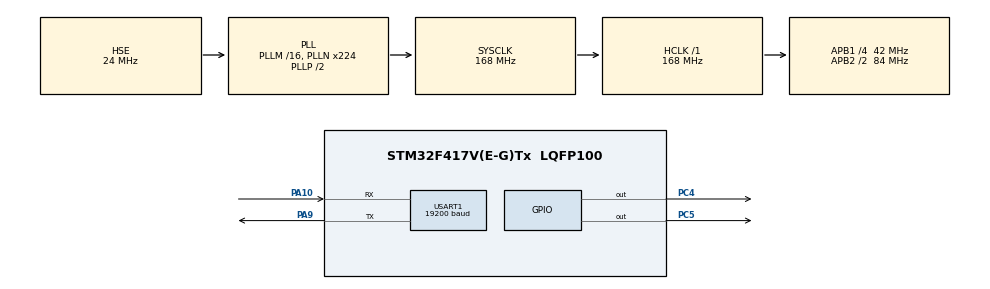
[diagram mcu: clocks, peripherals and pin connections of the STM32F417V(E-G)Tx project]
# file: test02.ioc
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Mcu.Family=STM32F4
Mcu.Name=STM32F417V(E-G)Tx
Mcu.Package=LQFP100
NVIC.PriorityGroup=NVIC_PRIORITYGROUP_2
NVIC.USART1_IRQn=true\:3\:3\:true\:false\:true\:true\:true\:true
PA10.GPIO_ModeDefaultPP=GPIO_MODE_AF_PP
PA10.GPIO_PuPd=GPIO_PULLUP
PA10.GPIO_Speed=GPIO_SPEED_FREQ_HIGH
PA10.Mode=Asynchronous
PA10.Signal=USART1_RX
PA13.Mode=Trace_Synchro_2bits_SW
PA13.Signal=SYS_JTMS-SWDIO
PA14.Mode=Trace_Synchro_2bits_SW
PA14.Signal=SYS_JTCK-SWCLK
PA9.GPIO_ModeDefaultPP=GPIO_MODE_AF_PP
PA9.GPIO_PuPd=GPIO_PULLUP
PA9.GPIO_Speed=GPIO_SPEED_FREQ_HIGH
PA9.Mode=Asynchronous
PA9.Signal=USART1_TX
PC14-OSC32_IN.Mode=LSE-External-Oscillator
PC14-OSC32_IN.Signal=RCC_OSC32_IN
PC15-OSC32_OUT.Mode=LSE-External-Oscillator
PC15-OSC32_OUT.Signal=RCC_OSC32_OUT
PC4.GPIO_ModeDefaultOutputPP=GPIO_MODE_OUTPUT_PP
PC4.GPIO_PuPd=GPIO_PULLUP
PC4.GPIO_Speed=GPIO_SPEED_FREQ_HIGH
PC4.PinState=GPIO_PIN_SET
PC4.Signal=GPIO_Output
PC5.GPIO_ModeDefaultOutputPP=GPIO_MODE_OUTPUT_PP
PC5.GPIO_PuPd=GPIO_PULLUP
PC5.GPIO_Speed=GPIO_SPEED_FREQ_HIGH
PC5.PinState=GPIO_PIN_SET
PC5.Signal=GPIO_Output
PE2.Mode=Trace_Synchro_2bits_SW
PE2.Signal=SYS_TRACECLK
PE3.Mode=Trace_Synchro_2bits_SW
PE3.Signal=SYS_TRACED0
PE4.Mode=Trace_Synchro_2bits_SW
PE4.Signal=SYS_TRACED1
PH0-OSC_IN.Mode=HSE-External-Oscillator
PH0-OSC_IN.Signal=RCC_OSC_IN
PH1-OSC_OUT.Mode=HSE-External-Oscillator
PH1-OSC_OUT.Signal=RCC_OSC_OUT
ProjectManager.HeapSize=0x200
ProjectManager.StackSize=0x400
ProjectManager.TargetToolchain=STM32CubeIDE
RCC.48MHZClocksFreq_Value=84000000
RCC.AHBFreq_Value=168000000
RCC.APB1CLKDivider=RCC_HCLK_DIV4
RCC.APB1Freq_Value=42000000
RCC.APB1TimFreq_Value=84000000
RCC.APB2CLKDivider=RCC_HCLK_DIV2
RCC.APB2Freq_Value=84000000
RCC.APB2TimFreq_Value=168000000
RCC.CortexFreq_Value=168000000
RCC.HCLKFreq_Value=168000000
RCC.HSE_VALUE=24000000
RCC.HSI_VALUE=16000000
RCC.PLLN=224
RCC.PLLSourceVirtual=RCC_PLLSOURCE_HSE
RCC.SYSCLKFreq_VALUE=168000000
RCC.SYSCLKSource=RCC_SYSCLKSOURCE_PLLCLK
RCC.VCOOutputFreq_Value=336000000
USART1.BaudRate=19200
USART1.VirtualMode=VM_ASYNC
board=custom

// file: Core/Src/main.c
/* USER CODE BEGIN Header */
/**
  ******************************************************************************
  * @file           : main.c
  * @brief          : Main program body
  ******************************************************************************
  * @attention
  *
  * Copyright (c) 2022 STMicroelectronics.
  * All rights reserved.
  *
  * This software is licensed under terms that can be found in the LICENSE file
  * in the root directory of this software component.
  * If no LICENSE file comes with this software, it is provided AS-IS.
  *
  ******************************************************************************
  */
/* USER CODE END Header */
#include "main.h"
#include "usart.h"
#include "gpio.h"

/* USER CODE BEGIN PV */
uint8_t rf = 0;  //接收完毕标志位
uint8_t dat[1] = {0xab};  //用于存放接收数据的数组
/* USER CODE END PV */

void SystemClock_Config(void);

int main(void)
{

  /* MCU Configuration--------------------------------------------------------*/

  /* Reset of all peripherals, Initializes the Flash interface and the Systick. */
  HAL_Init();

  /* Configure the system clock */
  SystemClock_Config();

  /* Initialize all configured peripherals */
  MX_GPIO_Init();
  MX_USART1_UART_Init();
  /* USER CODE BEGIN 2 */
  //打开串口1接收中断，接收数据存入dat数组，数组长度为1
  HAL_UART_Receive_IT(&huart1, dat, 1);
  /* USER CODE END 2 */

  /* Infinite loop */
  /* USER CODE BEGIN WHILE */
  while (1)
  {
	 HAL_GPIO_WritePin(GPIOC,GPIO_PIN_4,GPIO_PIN_SET);
	 HAL_GPIO_WritePin(GPIOC,GPIO_PIN_5,GPIO_PIN_RESET);
	 HAL_Delay(500);
	 HAL_GPIO_WritePin(GPIOC,GPIO_PIN_4,GPIO_PIN_RESET);
	 HAL_GPIO_WritePin(GPIOC,GPIO_PIN_5,GPIO_PIN_SET);
	 HAL_Delay(500);
	  uint8_t x;  //中间变量x
	  if(rf==1)   //若接收完成
	  {
	    rf = 0;        //将标志位清0
	    x = dat[0];    //将接收的数据存入中间变量x
	    dat[0]=(x<<4)|(x>>4);  //高低4位互换
	    HAL_UART_Transmit(&huart1, dat, 1, 1);	//由串口1发送存储在dat数组中的数据包，数组长度为1，超时1ms
	    HAL_UART_Receive_IT(&huart1, dat, 1);	//接收前每次都需调用该函数
	  }
    /* USER CODE END WHILE */

  }
}

void SystemClock_Config(void)
{
  RCC_OscInitTypeDef RCC_OscInitStruct = {0};
  RCC_ClkInitTypeDef RCC_ClkInitStruct = {0};

  /** Configure the main internal regulator output voltage
  */
  __HAL_RCC_PWR_CLK_ENABLE();
  __HAL_PWR_VOLTAGESCALING_CONFIG(PWR_REGULATOR_VOLTAGE_SCALE1);

  /** Initializes the RCC Oscillators according to the specified parameters
  * in the RCC_OscInitTypeDef structure.
  */
  RCC_OscInitStruct.OscillatorType = RCC_OSCILLATORTYPE_HSE;
  RCC_OscInitStruct.HSEState = RCC_HSE_ON;
  RCC_OscInitStruct.PLL.PLLState = RCC_PLL_ON;
  RCC_OscInitStruct.PLL.PLLSource = RCC_PLLSOURCE_HSE;
  RCC_OscInitStruct.PLL.PLLM = 16;
  RCC_OscInitStruct.PLL.PLLN = 224;
  RCC_OscInitStruct.PLL.PLLP = RCC_PLLP_DIV2;
  RCC_OscInitStruct.PLL.PLLQ = 4;
  if (HAL_RCC_OscConfig(&RCC_OscInitStruct) != HAL_OK)
  {
    Error_Handler();
  }

  /** Initializes the CPU, AHB and APB buses clocks
  */
  RCC_ClkInitStruct.ClockType = RCC_CLOCKTYPE_HCLK|RCC_CLOCKTYPE_SYSCLK
                              |RCC_CLOCKTYPE_PCLK1|RCC_CLOCKTYPE_PCLK2;
  RCC_ClkInitStruct.SYSCLKSource = RCC_SYSCLKSOURCE_PLLCLK;
  RCC_ClkInitStruct.AHBCLKDivider = RCC_SYSCLK_DIV1;
  RCC_ClkInitStruct.APB1CLKDivider = RCC_HCLK_DIV4;
  RCC_ClkInitStruct.APB2CLKDivider = RCC_HCLK_DIV2;

  if (HAL_RCC_ClockConfig(&RCC_ClkInitStruct, FLASH_LATENCY_5) != HAL_OK)
  {
    Error_Handler();
  }
}

/* USER CODE BEGIN 4 */
//接收完毕回调函数
void HAL_UART_RxCpltCallback(UART_HandleTypeDef *huart)
{
  if(huart==&huart1)  //如果串口接收中断完毕
  {
    rf = 1;  //接收完毕，标志位置1
  }
}
/* USER CODE END 4 */

void Error_Handler(void)
{
  __disable_irq();
  while (1)
  {
  }
}
